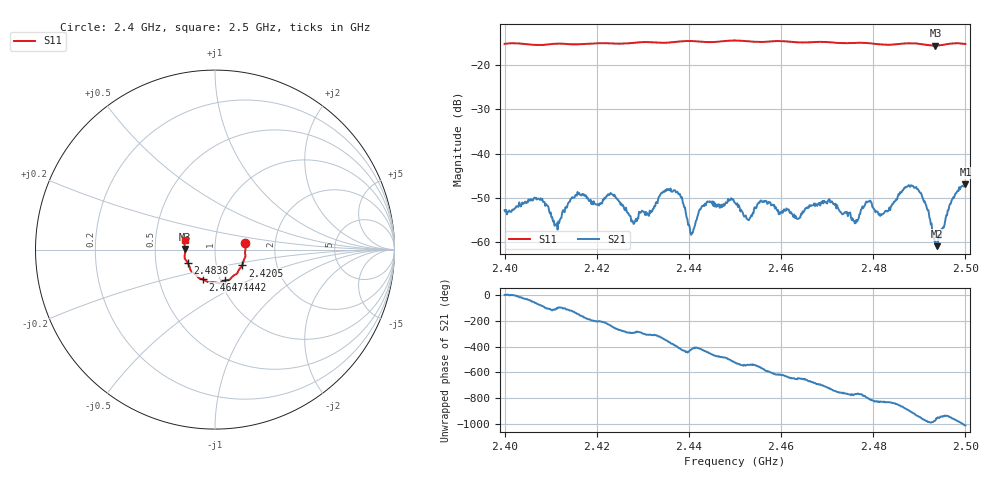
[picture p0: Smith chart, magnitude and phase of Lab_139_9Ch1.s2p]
# Hz S RI R
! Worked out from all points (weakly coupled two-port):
!   601 points, 2.4 GHz to 2.5 GHz, reference 50 ohm
!   highest |S21| = -46.91 dB at 2.5 GHz (marker M1); lowest = -60.8 dB at 2.4938 GHz (marker M2)
!   lowest |S11| = -15.6 dB at 2.4935 GHz (marker M3), VSWR 1.40, Z = 35.8 + j0.13 ohm
!   |S11| at or under -10 dB: start of sweep to end of sweep
!   S12 and S22 are empty: the file has one direction only
!   S11 on the Smith chart (normalised r, x): 2.4 GHz: 1.40, +0.11; 2.4205 GHz: 1.33, -0.24; 2.4442 GHz: 1.05, -0.37; 2.4647 GHz: 0.83, -0.29; 2.4838 GHz: 0.73, -0.11; 2.5 GHz: 0.71, +0.08
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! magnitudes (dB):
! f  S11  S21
! 2.4 GHz  -15.2  -52.7
! 2.4077 GHz  -15.5  -50.4
! 2.4113 GHz  -15.2  -55.7
! 2.4167 GHz  -15.3  -49.4
! 2.4205 GHz  -15.1  -51.6
! 2.4235 GHz  -15.2  -49.2
! 2.4282 GHz  -15.0  -55.6
! 2.4333 GHz  -15.0  -50.2
! 2.4375 GHz  -14.7  -48.6
! 2.4407 GHz  -14.6  -57.9
! 2.4442 GHz  -14.8  -50.8
! 2.45 GHz  -14.5  -51.1
! 2.4528 GHz  -14.7  -54.9
! 2.456 GHz  -14.8  -50.9
! 2.4647 GHz  -14.9  -53.0
! 2.4667 GHz  -14.9  -51.7
! 2.4833 GHz  -15.4  -52.8
! 2.4838 GHz  -15.4  -51.9
! 2.4893 GHz  -15.2  -47.5
! 2.4935 GHz  -15.6  -60.2
! 2.4938 GHz  -15.6  -60.8
! 2.5 GHz  -15.3  -46.9
